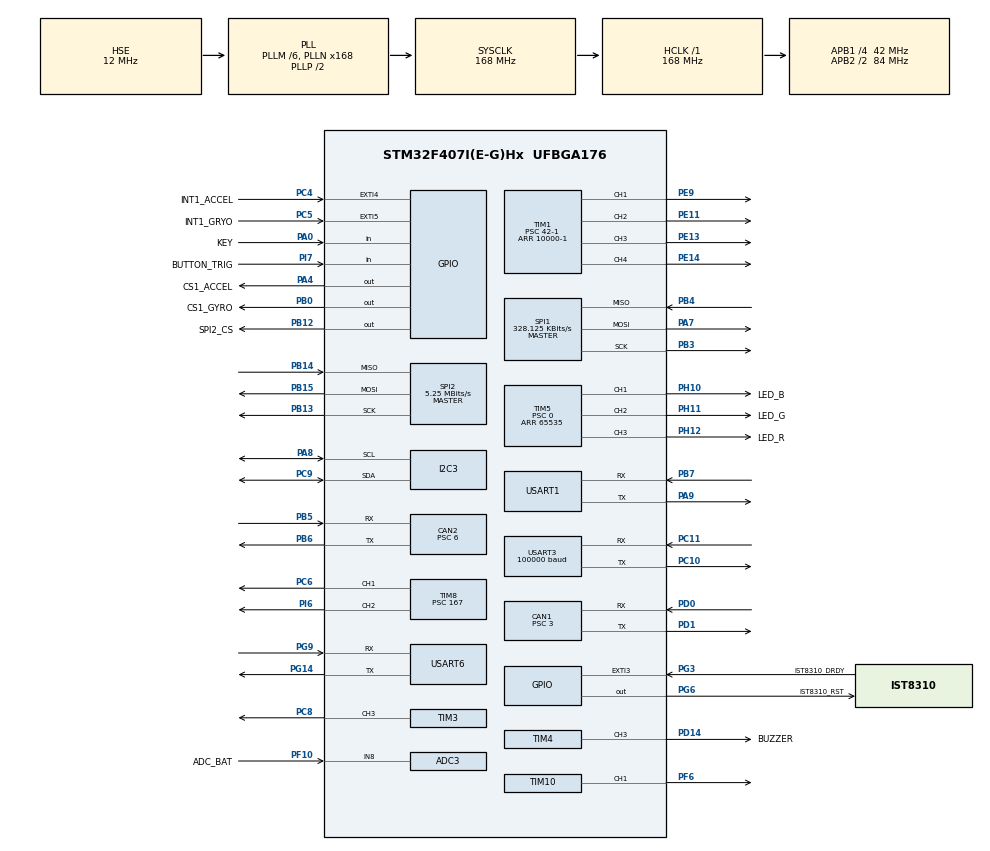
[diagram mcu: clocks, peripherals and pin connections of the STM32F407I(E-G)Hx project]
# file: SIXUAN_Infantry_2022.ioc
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ADC1.Channel-0\#ChannelRegularConversion=ADC_CHANNEL_TEMPSENSOR
ADC1.ClockPrescaler=ADC_CLOCK_SYNC_PCLK_DIV6
ADC1.NbrOfConversionFlag=1
ADC1.Rank-0\#ChannelRegularConversion=1
ADC1.SamplingTime-0\#ChannelRegularConversion=ADC_SAMPLETIME_3CYCLES
ADC1.master=1
ADC3.Channel-0\#ChannelRegularConversion=ADC_CHANNEL_8
ADC3.ClockPrescaler=ADC_CLOCK_SYNC_PCLK_DIV6
ADC3.NbrOfConversionFlag=1
ADC3.Rank-0\#ChannelRegularConversion=1
ADC3.SamplingTime-0\#ChannelRegularConversion=ADC_SAMPLETIME_3CYCLES
CAN1.ABOM=ENABLE
CAN1.AWUM=ENABLE
CAN1.BS1=CAN_BS1_10TQ
CAN1.BS2=CAN_BS2_3TQ
CAN1.CalculateBaudRate=1000000
CAN1.CalculateTimeBit=999.99
CAN1.CalculateTimeQuantum=71.42857142857143
CAN1.NART=ENABLE
CAN1.Prescaler=3
CAN1.RFLM=DISABLE
CAN1.TXFP=ENABLE
CAN2.ABOM=ENABLE
CAN2.AWUM=ENABLE
CAN2.BS1=CAN_BS1_4TQ
CAN2.BS2=CAN_BS2_2TQ
CAN2.CalculateBaudRate=1000000
CAN2.CalculateTimeBit=999.99
CAN2.CalculateTimeQuantum=142.85714285714286
CAN2.NART=ENABLE
CAN2.Prescaler=6
CAN2.TXFP=ENABLE
Dma.Request0=USART3_RX
Dma.Request1=USART1_TX
Dma.Request2=USART1_RX
Dma.Request3=USART6_RX
Dma.Request4=USART6_TX
Dma.USART1_RX.2.Direction=DMA_PERIPH_TO_MEMORY
Dma.USART1_RX.2.FIFOMode=DMA_FIFOMODE_DISABLE
Dma.USART1_RX.2.Instance=DMA2_Stream5
Dma.USART1_RX.2.MemDataAlignment=DMA_MDATAALIGN_BYTE
Dma.USART1_RX.2.MemInc=DMA_MINC_ENABLE
Dma.USART1_RX.2.Mode=DMA_CIRCULAR
Dma.USART1_RX.2.PeriphDataAlignment=DMA_PDATAALIGN_BYTE
Dma.USART1_RX.2.PeriphInc=DMA_PINC_DISABLE
Dma.USART1_RX.2.Priority=DMA_PRIORITY_HIGH
Dma.USART1_TX.1.Direction=DMA_MEMORY_TO_PERIPH
Dma.USART1_TX.1.FIFOMode=DMA_FIFOMODE_DISABLE
Dma.USART1_TX.1.Instance=DMA2_Stream7
Dma.USART1_TX.1.MemDataAlignment=DMA_MDATAALIGN_BYTE
Dma.USART1_TX.1.MemInc=DMA_MINC_ENABLE
Dma.USART1_TX.1.Mode=DMA_CIRCULAR
Dma.USART1_TX.1.PeriphDataAlignment=DMA_PDATAALIGN_BYTE
Dma.USART1_TX.1.PeriphInc=DMA_PINC_DISABLE
Dma.USART1_TX.1.Priority=DMA_PRIORITY_MEDIUM
Dma.USART3_RX.0.Direction=DMA_PERIPH_TO_MEMORY
Dma.USART3_RX.0.FIFOMode=DMA_FIFOMODE_DISABLE
Dma.USART3_RX.0.Instance=DMA1_Stream1
Dma.USART3_RX.0.MemDataAlignment=DMA_MDATAALIGN_BYTE
Dma.USART3_RX.0.MemInc=DMA_MINC_ENABLE
Dma.USART3_RX.0.Mode=DMA_CIRCULAR
Dma.USART3_RX.0.PeriphDataAlignment=DMA_PDATAALIGN_BYTE
Dma.USART3_RX.0.PeriphInc=DMA_PINC_DISABLE
Dma.USART3_RX.0.Priority=DMA_PRIORITY_HIGH
Dma.USART6_RX.3.Direction=DMA_PERIPH_TO_MEMORY
Dma.USART6_RX.3.FIFOMode=DMA_FIFOMODE_DISABLE
Dma.USART6_RX.3.Instance=DMA2_Stream1
Dma.USART6_RX.3.MemDataAlignment=DMA_MDATAALIGN_BYTE
Dma.USART6_RX.3.MemInc=DMA_MINC_ENABLE
Dma.USART6_RX.3.Mode=DMA_CIRCULAR
Dma.USART6_RX.3.PeriphDataAlignment=DMA_PDATAALIGN_BYTE
Dma.USART6_RX.3.PeriphInc=DMA_PINC_DISABLE
Dma.USART6_RX.3.Priority=DMA_PRIORITY_HIGH
Dma.USART6_TX.4.Direction=DMA_MEMORY_TO_PERIPH
Dma.USART6_TX.4.FIFOMode=DMA_FIFOMODE_DISABLE
Dma.USART6_TX.4.Instance=DMA2_Stream6
Dma.USART6_TX.4.MemDataAlignment=DMA_MDATAALIGN_BYTE
Dma.USART6_TX.4.MemInc=DMA_MINC_ENABLE
Dma.USART6_TX.4.Mode=DMA_NORMAL
Dma.USART6_TX.4.PeriphDataAlignment=DMA_PDATAALIGN_BYTE
Dma.USART6_TX.4.PeriphInc=DMA_PINC_DISABLE
Dma.USART6_TX.4.Priority=DMA_PRIORITY_MEDIUM
I2C3.I2C_Mode=I2C_Fast
Mcu.Family=STM32F4
Mcu.Name=STM32F407I(E-G)Hx
Mcu.Package=UFBGA176
NVIC.CAN1_RX0_IRQn=true\:0\:0\:true\:false\:true\:true\:true
NVIC.CAN1_TX_IRQn=true\:1\:0\:true\:false\:true\:true\:true
NVIC.CAN2_RX0_IRQn=true\:1\:0\:true\:false\:true\:true\:true
NVIC.CAN2_TX_IRQn=true\:3\:0\:true\:false\:true\:true\:true
NVIC.DMA1_Stream1_IRQn=true\:0\:0\:true\:false\:false\:false\:false
NVIC.DMA2_Stream1_IRQn=true\:0\:0\:false\:false\:true\:false\:true
NVIC.DMA2_Stream5_IRQn=true\:0\:0\:false\:false\:true\:false\:true
NVIC.DMA2_Stream6_IRQn=true\:0\:0\:false\:false\:true\:false\:true
NVIC.DMA2_Stream7_IRQn=true\:0\:0\:true\:false\:true\:false\:true
NVIC.PriorityGroup=NVIC_PRIORITYGROUP_4
PA0-WKUP.GPIO_Label=KEY
PA0-WKUP.GPIO_PuPd=GPIO_PULLUP
PA0-WKUP.Signal=GPIO_Input
PA13.Mode=Serial_Wire
PA13.Signal=SYS_JTMS-SWDIO
PA14.Mode=Serial_Wire
PA14.Signal=SYS_JTCK-SWCLK
PA4.GPIO_Label=CS1_ACCEL
PA4.GPIO_PuPd=GPIO_PULLUP
PA4.GPIO_Speed=GPIO_SPEED_FREQ_HIGH
PA4.PinState=GPIO_PIN_SET
PA4.Signal=GPIO_Output
PA7.GPIO_PuPd=GPIO_PULLUP
PA7.Mode=Full_Duplex_Master
PA7.Signal=SPI1_MOSI
PA8.Mode=I2C
PA8.Signal=I2C3_SCL
PA9.Mode=Asynchronous
PA9.Signal=USART1_TX
PB0.GPIO_Label=CS1_GYRO
PB0.GPIO_PuPd=GPIO_PULLUP
PB0.GPIO_Speed=GPIO_SPEED_FREQ_HIGH
PB0.PinState=GPIO_PIN_SET
PB0.Signal=GPIO_Output
PB12.GPIO_Label=SPI2_CS
PB12.GPIO_PuPd=GPIO_PULLUP
PB12.GPIO_Speed=GPIO_SPEED_FREQ_LOW
PB12.PinState=GPIO_PIN_SET
PB12.Signal=GPIO_Output
PB13.GPIO_PuPd=GPIO_NOPULL
PB13.Mode=Full_Duplex_Master
PB13.Signal=SPI2_SCK
PB14.GPIO_PuPd=GPIO_NOPULL
PB14.Mode=Full_Duplex_Master
PB14.Signal=SPI2_MISO
PB15.GPIO_PuPd=GPIO_NOPULL
PB15.Mode=Full_Duplex_Master
PB15.Signal=SPI2_MOSI
PB3.GPIO_PuPd=GPIO_PULLUP
PB3.Mode=Full_Duplex_Master
PB3.Signal=SPI1_SCK
PB4.GPIO_PuPd=GPIO_PULLUP
PB4.Mode=Full_Duplex_Master
PB4.Signal=SPI1_MISO
PB5.Mode=CAN_Activate
PB5.Signal=CAN2_RX
PB6.Mode=CAN_Activate
PB6.Signal=CAN2_TX
PB7.Mode=Asynchronous
PB7.Signal=USART1_RX
PC10.Mode=Asynchronous
PC10.Signal=USART3_TX
PC11.Mode=Asynchronous
PC11.Signal=USART3_RX
PC4.GPIO_Label=INT1_ACCEL
PC4.GPIO_ModeDefaultEXTI=GPIO_MODE_IT_FALLING
PC4.GPIO_PuPd=GPIO_PULLUP
PC4.Signal=GPXTI4
PC5.GPIO_Label=INT1_GRYO
PC5.GPIO_ModeDefaultEXTI=GPIO_MODE_IT_FALLING
PC5.GPIO_PuPd=GPIO_PULLUP
PC5.Signal=GPXTI5
PC6.GPIO_PuPd=GPIO_PULLUP
PC6.GPIO_Speed=GPIO_SPEED_FREQ_HIGH
PC6.Signal=S_TIM8_CH1
PC8.GPIO_PuPd=GPIO_PULLUP
PC8.GPIO_Speed=GPIO_SPEED_FREQ_HIGH
PC8.Signal=S_TIM3_CH3
PC9.Mode=I2C
PC9.Signal=I2C3_SDA
PD0.Mode=CAN_Activate
PD0.Signal=CAN1_RX
PD1.Mode=CAN_Activate
PD1.Signal=CAN1_TX
PD14.GPIO_Label=BUZZER
PD14.GPIO_PuPd=GPIO_PULLUP
PD14.GPIO_Speed=GPIO_SPEED_FREQ_VERY_HIGH
PD14.Signal=S_TIM4_CH3
PE11.GPIO_PuPd=GPIO_PULLUP
PE11.GPIO_Speed=GPIO_SPEED_FREQ_HIGH
PE11.Signal=S_TIM1_CH2
PE13.GPIO_PuPd=GPIO_PULLUP
PE13.GPIO_Speed=GPIO_SPEED_FREQ_HIGH
PE13.Signal=S_TIM1_CH3
PE14.GPIO_PuPd=GPIO_PULLUP
PE14.GPIO_Speed=GPIO_SPEED_FREQ_HIGH
PE14.Signal=S_TIM1_CH4
PE9.GPIO_PuPd=GPIO_PULLUP
PE9.GPIO_Speed=GPIO_SPEED_FREQ_HIGH
PE9.Signal=S_TIM1_CH1
PF10.GPIO_Label=ADC_BAT
PF10.Mode=IN8
PF10.Signal=ADC3_IN8
PF6.GPIO_PuPd=GPIO_PULLUP
PF6.GPIO_Speed=GPIO_SPEED_FREQ_HIGH
PF6.Signal=S_TIM10_CH1
PG14.Mode=Asynchronous
PG14.Signal=USART6_TX
PG3.GPIO_Label=IST8310_DRDY
PG3.GPIO_ModeDefaultEXTI=GPIO_MODE_IT_FALLING
PG3.GPIO_PuPd=GPIO_PULLUP
PG3.Signal=GPXTI3
PG6.GPIO_Label=IST8310_RST
PG6.GPIO_PuPd=GPIO_PULLUP
PG6.GPIO_Speed=GPIO_SPEED_FREQ_MEDIUM
PG6.PinState=GPIO_PIN_SET
PG6.Signal=GPIO_Output
PG9.Mode=Asynchronous
PG9.Signal=USART6_RX
PH0-OSC_IN.Mode=HSE-External-Oscillator
PH0-OSC_IN.Signal=RCC_OSC_IN
PH1-OSC_OUT.Mode=HSE-External-Oscillator
PH1-OSC_OUT.Signal=RCC_OSC_OUT
PH10.GPIO_Label=LED_B
PH10.GPIO_PuPd=GPIO_PULLUP
PH10.GPIO_Speed=GPIO_SPEED_FREQ_HIGH
PH10.Signal=S_TIM5_CH1
PH11.GPIO_Label=LED_G
PH11.GPIO_PuPd=GPIO_PULLUP
PH11.GPIO_Speed=GPIO_SPEED_FREQ_HIGH
PH11.Signal=S_TIM5_CH2
PH12.GPIO_Label=LED_R
PH12.GPIO_PuPd=GPIO_PULLUP
PH12.GPIO_Speed=GPIO_SPEED_FREQ_HIGH
PH12.Signal=S_TIM5_CH3
PI6.GPIO_PuPd=GPIO_PULLUP
PI6.GPIO_Speed=GPIO_SPEED_FREQ_HIGH
PI6.Signal=S_TIM8_CH2
PI7.GPIO_Label=BUTTON_TRIG
PI7.GPIO_PuPd=GPIO_PULLUP
PI7.Signal=GPIO_Input
ProjectManager.HeapSize=0x200
ProjectManager.StackSize=0x400
ProjectManager.TargetToolchain=MDK-ARM V5.27
RCC.48MHZClocksFreq_Value=48000000
RCC.AHBFreq_Value=168000000
RCC.APB1CLKDivider=RCC_HCLK_DIV4
RCC.APB1Freq_Value=42000000
RCC.APB1TimFreq_Value=84000000
RCC.APB2CLKDivider=RCC_HCLK_DIV2
RCC.APB2Freq_Value=84000000
RCC.APB2TimFreq_Value=168000000
RCC.CortexFreq_Value=168000000
RCC.HCLKFreq_Value=168000000
RCC.HSE_VALUE=12000000
RCC.HSI_VALUE=16000000
RCC.LSE_VALUE=32768
RCC.PLLM=6
RCC.PLLN=168
RCC.PLLQ=7
RCC.PLLSourceVirtual=RCC_PLLSOURCE_HSE
RCC.RCC_RTC_Clock_SourceVirtual=RCC_RTCCLKSOURCE_HSE_DIV30
RCC.RCC_RTC_Clock_Source_FROM_HSE=RCC_RTCCLKSOURCE_HSE_DIV30
RCC.SYSCLKFreq_VALUE=168000000
RCC.SYSCLKSource=RCC_SYSCLKSOURCE_PLLCLK
RCC.VCOOutputFreq_Value=336000000
RTC.AsynchPrediv=124
RTC.SynchPrediv=3199
SH.S_TIM10_CH1.0=TIM10_CH1,PWM Generation1 CH1
SH.S_TIM1_CH1.0=TIM1_CH1,PWM Generation1 CH1
SH.S_TIM1_CH2.0=TIM1_CH2,PWM Generation2 CH2
SH.S_TIM1_CH3.0=TIM1_CH3,PWM Generation3 CH3
SH.S_TIM1_CH4.0=TIM1_CH4,PWM Generation4 CH4
SH.S_TIM3_CH3.0=TIM3_CH3,PWM Generation3 CH3
SH.S_TIM4_CH3.0=TIM4_CH3,PWM Generation3 CH3
SH.S_TIM5_CH1.0=TIM5_CH1,PWM Generation1 CH1
SH.S_TIM5_CH2.0=TIM5_CH2,PWM Generation2 CH2
SH.S_TIM5_CH3.0=TIM5_CH3,PWM Generation3 CH3
SH.S_TIM8_CH1.0=TIM8_CH1,PWM Generation1 CH1
SH.S_TIM8_CH2.0=TIM8_CH2,PWM Generation2 CH2
SPI1.BaudRatePrescaler=SPI_BAUDRATEPRESCALER_256
SPI1.CLKPhase=SPI_PHASE_2EDGE
SPI1.CLKPolarity=SPI_POLARITY_HIGH
SPI1.CalculateBaudRate=328.125 KBits/s
SPI1.Direction=SPI_DIRECTION_2LINES
SPI1.Mode=SPI_MODE_MASTER
SPI1.VirtualType=VM_MASTER
SPI2.BaudRatePrescaler=SPI_BAUDRATEPRESCALER_8
SPI2.CLKPhase=SPI_PHASE_2EDGE
SPI2.CLKPolarity=SPI_POLARITY_HIGH
SPI2.CRCCalculation=SPI_CRCCALCULATION_DISABLE
SPI2.CalculateBaudRate=5.25 MBits/s
SPI2.DataSize=SPI_DATASIZE_8BIT
SPI2.Direction=SPI_DIRECTION_2LINES
SPI2.FirstBit=SPI_FIRSTBIT_MSB
SPI2.Mode=SPI_MODE_MASTER
SPI2.VirtualType=VM_MASTER
TIM1.AutoReloadPreload=TIM_AUTORELOAD_PRELOAD_ENABLE
TIM1.Channel-PWM\ Generation1\ CH1=TIM_CHANNEL_1
TIM1.Channel-PWM\ Generation2\ CH2=TIM_CHANNEL_2
TIM1.Channel-PWM\ Generation3\ CH3=TIM_CHANNEL_3
TIM1.Channel-PWM\ Generation4\ CH4=TIM_CHANNEL_4
TIM1.Period=10000-1
TIM1.Prescaler=42-1
TIM1.Pulse-PWM\ Generation1\ CH1=100
TIM1.Pulse-PWM\ Generation2\ CH2=0
TIM1.Pulse-PWM\ Generation3\ CH3=0
TIM1.Pulse-PWM\ Generation4\ CH4=0
TIM10.Channel=TIM_CHANNEL_1
TIM10.OC1Preload_PWM=DISABLE
TIM10.Period=4999
TIM3.Channel-PWM\ Generation3\ CH3=TIM_CHANNEL_3
TIM3.Period=8399
TIM4.Channel-PWM\ Generation3\ CH3=TIM_CHANNEL_3
TIM4.Period=65535
TIM4.Prescaler=167
TIM5.Channel-PWM\ Generation1\ CH1=TIM_CHANNEL_1
TIM5.Channel-PWM\ Generation2\ CH2=TIM_CHANNEL_2
TIM5.Channel-PWM\ Generation3\ CH3=TIM_CHANNEL_3
TIM5.Period=65535
TIM5.Prescaler=0
TIM8.Channel-PWM\ Generation1\ CH1=TIM_CHANNEL_1
TIM8.Channel-PWM\ Generation2\ CH2=TIM_CHANNEL_2
TIM8.Period=19999
TIM8.Prescaler=167
TIM8.Pulse-PWM\ Generation1\ CH1=1000
TIM8.Pulse-PWM\ Generation2\ CH2=1000
USART1.VirtualMode=VM_ASYNC
USART3.BaudRate=100000
USART3.Parity=PARITY_EVEN
USART3.VirtualMode=VM_ASYNC
USART6.VirtualMode=VM_ASYNC
VP_ADC1_TempSens_Input.Mode=IN-TempSens
VP_ADC1_Vref_Input.Mode=IN-Vrefint
VP_CRC_VS_CRC.Mode=CRC_Activate
VP_RNG_VS_RNG.Mode=RNG_Activate
VP_RTC_VS_RTC_Activate.Mode=RTC_Enabled
VP_TIM10_VS_ClockSourceINT.Mode=Enable_Timer
VP_TIM1_VS_ClockSourceINT.Mode=Internal
VP_TIM3_VS_ClockSourceINT.Mode=Internal
VP_TIM4_VS_ClockSourceINT.Mode=Internal
VP_TIM5_VS_ClockSourceINT.Mode=Internal
VP_TIM8_VS_ClockSourceINT.Mode=Internal
board=custom

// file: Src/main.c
/* USER CODE BEGIN Header */
/**
  ******************************************************************************
  * @file           : main.c
  * @brief          : Main program body
  ******************************************************************************
  * @attention
  *
  * <h2><center>&copy; Copyright (c) 2022 STMicroelectronics.
  * All rights reserved.</center></h2>
  *
  * This software component is licensed by ST under BSD 3-Clause license,
  * the "License"; You may not use this file except in compliance with the
  * License. You may obtain a copy of the License at:
  *                        opensource.org/licenses/BSD-3-Clause
  *
  ******************************************************************************
  */
/* USER CODE END Header */
#include "main.h"
#include "adc.h"
#include "can.h"
#include "crc.h"
#include "dma.h"
#include "i2c.h"
#include "rng.h"
#include "rtc.h"
#include "spi.h"
#include "tim.h"
#include "usart.h"
#include "gpio.h"

/* USER CODE BEGIN Includes */

#include "..\BMI088\BMI088driver.h"
#include "..\IST8310\ist8310driver.h"
/* USER CODE END Includes */

void SystemClock_Config(void);

/* USER CODE BEGIN 0 */

void TIM10_Init(void)
{
	TIM10->CR1 = 0x01;
	TIM10->SR = 0x03;
	TIM10->CCMR1 = 0x68;
	TIM10->CCER = 0x01;
}

/* USER CODE END 0 */

int main(void)
{

  /* MCU Configuration--------------------------------------------------------*/

  /* Reset of all peripherals, Initializes the Flash interface and the Systick. */
  HAL_Init();

  /* Configure the system clock */
  SystemClock_Config();

  /* Initialize all configured peripherals */
  MX_GPIO_Init();
  MX_DMA_Init();
  MX_ADC1_Init();
  MX_ADC3_Init();
  MX_CAN1_Init();
  MX_CAN2_Init();
  MX_SPI1_Init();
  MX_TIM4_Init();
  MX_TIM5_Init();
  MX_USART3_UART_Init();
  MX_TIM8_Init();
  MX_CRC_Init();
  MX_RNG_Init();
  MX_RTC_Init();
  MX_SPI2_Init();
  MX_TIM1_Init();
  MX_TIM3_Init();
  MX_TIM10_Init();
  MX_USART1_UART_Init();
  MX_USART6_UART_Init();
  MX_I2C3_Init();
  /* USER CODE BEGIN 2 */
	TIM10_Init();
	Mpu_Device_Init();
	USART3_RX_DMA_Init();
	USART6_DMA_RX_Init();
	USART1_DMA_RX_Init();
	CAN1_Filter_Init();
	CAN2_Filter_Init();
	QUEUE_PacketCreate(&Queue_Date,My_Queue,256);
	control_task_init();
	Remote_Task_Init();
	ist8310_init();
	while(BMI088_init());
	Scheduler_Setup();
  /* USER CODE END 2 */

  /* Infinite loop */
  /* USER CODE BEGIN WHILE */
  while (1)
  {
		Scheduler_Run();
    /* USER CODE END WHILE */

  }
}

void SystemClock_Config(void)
{
  RCC_OscInitTypeDef RCC_OscInitStruct = {0};
  RCC_ClkInitTypeDef RCC_ClkInitStruct = {0};

  /** Configure the main internal regulator output voltage
  */
  __HAL_RCC_PWR_CLK_ENABLE();
  __HAL_PWR_VOLTAGESCALING_CONFIG(PWR_REGULATOR_VOLTAGE_SCALE1);
  /** Initializes the RCC Oscillators according to the specified parameters
  * in the RCC_OscInitTypeDef structure.
  */
  RCC_OscInitStruct.OscillatorType = RCC_OSCILLATORTYPE_HSE;
  RCC_OscInitStruct.HSEState = RCC_HSE_ON;
  RCC_OscInitStruct.PLL.PLLState = RCC_PLL_ON;
  RCC_OscInitStruct.PLL.PLLSource = RCC_PLLSOURCE_HSE;
  RCC_OscInitStruct.PLL.PLLM = 6;
  RCC_OscInitStruct.PLL.PLLN = 168;
  RCC_OscInitStruct.PLL.PLLP = RCC_PLLP_DIV2;
  RCC_OscInitStruct.PLL.PLLQ = 7;
  if (HAL_RCC_OscConfig(&RCC_OscInitStruct) != HAL_OK)
  {
    Error_Handler();
  }
  /** Initializes the CPU, AHB and APB buses clocks
  */
  RCC_ClkInitStruct.ClockType = RCC_CLOCKTYPE_HCLK|RCC_CLOCKTYPE_SYSCLK
                              |RCC_CLOCKTYPE_PCLK1|RCC_CLOCKTYPE_PCLK2;
  RCC_ClkInitStruct.SYSCLKSource = RCC_SYSCLKSOURCE_PLLCLK;
  RCC_ClkInitStruct.AHBCLKDivider = RCC_SYSCLK_DIV1;
  RCC_ClkInitStruct.APB1CLKDivider = RCC_HCLK_DIV4;
  RCC_ClkInitStruct.APB2CLKDivider = RCC_HCLK_DIV2;

  if (HAL_RCC_ClockConfig(&RCC_ClkInitStruct, FLASH_LATENCY_5) != HAL_OK)
  {
    Error_Handler();
  }
}

void Error_Handler(void)
{
  __disable_irq();
  while (1)
  {
  }
}

/************************ (C) COPYRIGHT STMicroelectronics *****END OF FILE****/
